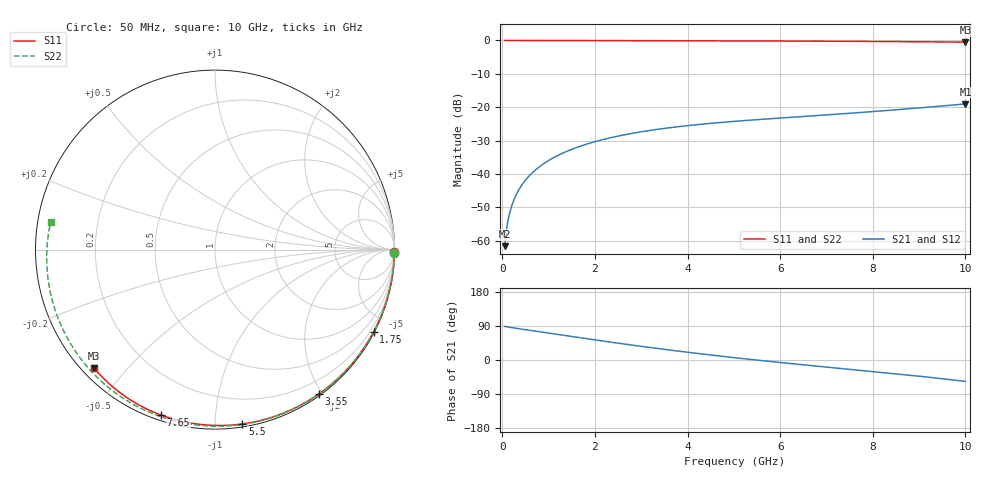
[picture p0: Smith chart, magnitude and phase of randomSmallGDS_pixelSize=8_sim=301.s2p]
! freq	dB(S11)	phase(S11)	dB(S12)	phase(S12)
!  dB(S21)	phase(S21)	dB(S22)	phase(S22)
!S-par simulation data
#  GHz  S  DB  R 50
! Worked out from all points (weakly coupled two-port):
!   200 points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, 50 MHz to 10 GHz, reference 50 ohm
!   highest |S21| = -19.03 dB at 10 GHz (marker M1); lowest = -61.7 dB at 50 MHz (marker M2)
!   lowest |S11| = -0.5 dB at 10 GHz (marker M3), VSWR 34.42, Z = 1.7 - j20.5 ohm
!   |S11| at or under -10 dB: nowhere
!   |S22| runs from -0.6 to 0.0 dB; largest |S21 - S12| = 0
!   S11 on the Smith chart (normalised r, x): 50 MHz: open; 1.75 GHz: 0.04, -4.10; 3.55 GHz: 0.02, -1.95; 5.5 GHz: 0.02, -1.17; 7.65 GHz: 0.02, -0.73; 10 GHz: 0.03, -0.41
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0.05  -0.00 -0.8  -61.66 88.7  -61.66 88.7  -0.00 -1.1
0.1  -0.00 -1.6  -55.66 87.6  -55.66 87.6  -0.00 -2.2
0.15  -0.00 -2.4  -52.18 86.5  -52.18 86.5  -0.00 -3.3
0.2  -0.00 -3.2  -49.71 85.5  -49.71 85.5  -0.00 -4.4
0.25  -0.00 -4.0  -47.80 84.5  -47.80 84.5  -0.00 -5.5
0.35  -0.00 -5.6  -44.92 82.7  -44.92 82.7  -0.01 -7.7
0.5  -0.01 -8.0  -41.87 80.0  -41.87 80.0  -0.01 -11.0
0.7  -0.01 -11.1  -39.00 76.4  -39.00 76.4  -0.02 -15.3
1  -0.02 -15.8  -35.98 70.9  -35.98 70.9  -0.03 -21.8
1.35  -0.03 -21.3  -33.48 64.6  -33.48 64.6  -0.04 -29.2
1.75  -0.04 -27.4  -31.39 57.4  -31.39 57.4  -0.05 -37.7
2.6  -0.06 -40.3  -28.38 42.7  -28.38 42.7  -0.08 -55.1
3.4  -0.08 -52.1  -26.54 29.6  -26.54 29.6  -0.10 -70.9
3.55  -0.08 -54.2  -26.27 27.3  -26.27 27.3  -0.11 -73.8
4.3  -0.10 -64.9  -25.11 16.1  -25.11 16.1  -0.14 -87.9
5.05  -0.13 -75.1  -24.20 5.6  -24.20 5.6  -0.17 -101.5
5.5  -0.15 -81.1  -23.74 -0.3  -23.74 -0.3  -0.19 -109.5
6.7  -0.20 -96.4  -22.60 -15.0  -22.60 -15.0  -0.27 -130.3
7.65  -0.27 -108.0  -21.68 -26.2  -21.68 -26.2  -0.35 -146.6
8.35  -0.32 -116.4  -20.95 -34.6  -20.95 -34.6  -0.42 -158.8
9.2  -0.41 -126.3  -19.99 -45.3  -19.99 -45.3  -0.53 -174.1
10  -0.50 -135.5  -19.03 -56.4  -19.03 -56.4  -0.64 170.5
